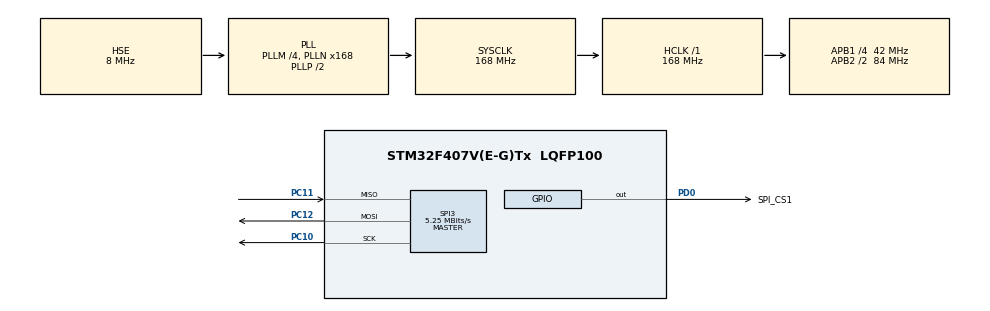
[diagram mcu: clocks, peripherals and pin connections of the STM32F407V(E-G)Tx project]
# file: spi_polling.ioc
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Mcu.Family=STM32F4
Mcu.Name=STM32F407V(E-G)Tx
Mcu.Package=LQFP100
NVIC.PriorityGroup=NVIC_PRIORITYGROUP_4
PC10.Mode=Full_Duplex_Master
PC10.Signal=SPI3_SCK
PC11.Mode=Full_Duplex_Master
PC11.Signal=SPI3_MISO
PC12.Mode=Full_Duplex_Master
PC12.Signal=SPI3_MOSI
PD0.GPIO_Label=SPI_CS1
PD0.GPIO_Speed=GPIO_SPEED_FREQ_VERY_HIGH
PD0.PinState=GPIO_PIN_SET
PD0.Signal=GPIO_Output
PH0-OSC_IN.Mode=HSE-External-Oscillator
PH0-OSC_IN.Signal=RCC_OSC_IN
PH1-OSC_OUT.Mode=HSE-External-Oscillator
PH1-OSC_OUT.Signal=RCC_OSC_OUT
ProjectManager.HeapSize=0x200
ProjectManager.StackSize=0x400
ProjectManager.TargetToolchain=STM32CubeIDE
RCC.48MHZClocksFreq_Value=84000000
RCC.AHBFreq_Value=168000000
RCC.APB1CLKDivider=RCC_HCLK_DIV4
RCC.APB1Freq_Value=42000000
RCC.APB1TimFreq_Value=84000000
RCC.APB2CLKDivider=RCC_HCLK_DIV2
RCC.APB2Freq_Value=84000000
RCC.APB2TimFreq_Value=168000000
RCC.CortexFreq_Value=168000000
RCC.HCLKFreq_Value=168000000
RCC.HSE_VALUE=8000000
RCC.HSI_VALUE=16000000
RCC.LSE_VALUE=32768
RCC.PLLM=4
RCC.PLLN=168
RCC.PLLSourceVirtual=RCC_PLLSOURCE_HSE
RCC.SYSCLKFreq_VALUE=168000000
RCC.SYSCLKSource=RCC_SYSCLKSOURCE_PLLCLK
RCC.VCOOutputFreq_Value=336000000
SPI3.BaudRatePrescaler=SPI_BAUDRATEPRESCALER_8
SPI3.CLKPhase=SPI_PHASE_2EDGE
SPI3.CLKPolarity=SPI_POLARITY_HIGH
SPI3.CalculateBaudRate=5.25 MBits/s
SPI3.Direction=SPI_DIRECTION_2LINES
SPI3.Mode=SPI_MODE_MASTER
SPI3.VirtualType=VM_MASTER
board=custom

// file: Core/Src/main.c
/* USER CODE BEGIN Header */
/**
  ******************************************************************************
  * @file           : main.c
  * @brief          : Main program body
  ******************************************************************************
  * @attention
  *
  * <h2><center>&copy; Copyright (c) 2021 STMicroelectronics.
  * All rights reserved.</center></h2>
  *
  * This software component is licensed by ST under BSD 3-Clause license,
  * the "License"; You may not use this file except in compliance with the
  * License. You may obtain a copy of the License at:
  *                        opensource.org/licenses/BSD-3-Clause
  *
  ******************************************************************************
  */
/* USER CODE END Header */
#include "main.h"

/* USER CODE BEGIN Includes */
#include <stdint.h>
/* USER CODE END Includes */

SPI_HandleTypeDef hspi3;

void SystemClock_Config(void);
static void MX_GPIO_Init(void);
static void MX_SPI3_Init(void);
/* USER CODE BEGIN PFP */
HAL_StatusTypeDef MEM_Read(uint8_t MemAddress, uint16_t *Data);
HAL_StatusTypeDef MEM_Write(uint8_t MemAddress, uint16_t Data);
/* USER CODE END PFP */

int main(void)
{
  /* USER CODE BEGIN 1 */
  HAL_StatusTypeDef MEM_status;
  uint16_t SPI_data_tx, SPI_data_rx;
  /* USER CODE END 1 */

  /* MCU Configuration--------------------------------------------------------*/

  /* Reset of all peripherals, Initializes the Flash interface and the Systick. */
  HAL_Init();

  /* Configure the system clock */
  SystemClock_Config();

  /* Initialize all configured peripherals */
  MX_GPIO_Init();
  MX_SPI3_Init();

  /* Infinite loop */
  while (1)
  {

    /* USER CODE BEGIN 3 */

    SPI_data_tx = 0x0080;

    MEM_status = MEM_Write(0x06, SPI_data_tx);

    HAL_Delay(10);

    MEM_status = MEM_Read(0x06, &SPI_data_rx);

    HAL_Delay(1);

    SPI_data_tx = 0x0000;

    MEM_status = MEM_Write(0x06, SPI_data_tx);

    HAL_Delay(10);

    MEM_status =  MEM_Read(0x06, &SPI_data_rx);

    while(1);

  }
  /* USER CODE END 3 */
}

void SystemClock_Config(void)
{
  RCC_OscInitTypeDef RCC_OscInitStruct = {0};
  RCC_ClkInitTypeDef RCC_ClkInitStruct = {0};

  /** Configure the main internal regulator output voltage
  */
  __HAL_RCC_PWR_CLK_ENABLE();
  __HAL_PWR_VOLTAGESCALING_CONFIG(PWR_REGULATOR_VOLTAGE_SCALE1);
  /** Initializes the RCC Oscillators according to the specified parameters
  * in the RCC_OscInitTypeDef structure.
  */
  RCC_OscInitStruct.OscillatorType = RCC_OSCILLATORTYPE_HSE;
  RCC_OscInitStruct.HSEState = RCC_HSE_ON;
  RCC_OscInitStruct.PLL.PLLState = RCC_PLL_ON;
  RCC_OscInitStruct.PLL.PLLSource = RCC_PLLSOURCE_HSE;
  RCC_OscInitStruct.PLL.PLLM = 4;
  RCC_OscInitStruct.PLL.PLLN = 168;
  RCC_OscInitStruct.PLL.PLLP = RCC_PLLP_DIV2;
  RCC_OscInitStruct.PLL.PLLQ = 4;
  if (HAL_RCC_OscConfig(&RCC_OscInitStruct) != HAL_OK)
  {
    Error_Handler();
  }
  /** Initializes the CPU, AHB and APB buses clocks
  */
  RCC_ClkInitStruct.ClockType = RCC_CLOCKTYPE_HCLK|RCC_CLOCKTYPE_SYSCLK
                              |RCC_CLOCKTYPE_PCLK1|RCC_CLOCKTYPE_PCLK2;
  RCC_ClkInitStruct.SYSCLKSource = RCC_SYSCLKSOURCE_PLLCLK;
  RCC_ClkInitStruct.AHBCLKDivider = RCC_SYSCLK_DIV1;
  RCC_ClkInitStruct.APB1CLKDivider = RCC_HCLK_DIV4;
  RCC_ClkInitStruct.APB2CLKDivider = RCC_HCLK_DIV2;

  if (HAL_RCC_ClockConfig(&RCC_ClkInitStruct, FLASH_LATENCY_5) != HAL_OK)
  {
    Error_Handler();
  }
}

static void MX_SPI3_Init(void)
{

  /* SPI3 parameter configuration*/
  hspi3.Instance = SPI3;
  hspi3.Init.Mode = SPI_MODE_MASTER;
  hspi3.Init.Direction = SPI_DIRECTION_2LINES;
  hspi3.Init.DataSize = SPI_DATASIZE_8BIT;
  hspi3.Init.CLKPolarity = SPI_POLARITY_HIGH;
  hspi3.Init.CLKPhase = SPI_PHASE_2EDGE;
  hspi3.Init.NSS = SPI_NSS_SOFT;
  hspi3.Init.BaudRatePrescaler = SPI_BAUDRATEPRESCALER_8;
  hspi3.Init.FirstBit = SPI_FIRSTBIT_MSB;
  hspi3.Init.TIMode = SPI_TIMODE_DISABLE;
  hspi3.Init.CRCCalculation = SPI_CRCCALCULATION_DISABLE;
  hspi3.Init.CRCPolynomial = 10;
  if (HAL_SPI_Init(&hspi3) != HAL_OK)
  {
    Error_Handler();
  }

}

static void MX_GPIO_Init(void)
{
  GPIO_InitTypeDef GPIO_InitStruct = {0};

  /* GPIO Ports Clock Enable */
  __HAL_RCC_GPIOH_CLK_ENABLE();
  __HAL_RCC_GPIOC_CLK_ENABLE();
  __HAL_RCC_GPIOD_CLK_ENABLE();

  /*Configure GPIO pin Output Level */
  HAL_GPIO_WritePin(SPI_CS1_GPIO_Port, SPI_CS1_Pin, GPIO_PIN_SET);

  /*Configure GPIO pin : SPI_CS1_Pin */
  GPIO_InitStruct.Pin = SPI_CS1_Pin;
  GPIO_InitStruct.Mode = GPIO_MODE_OUTPUT_PP;
  GPIO_InitStruct.Pull = GPIO_NOPULL;
  GPIO_InitStruct.Speed = GPIO_SPEED_FREQ_VERY_HIGH;
  HAL_GPIO_Init(SPI_CS1_GPIO_Port, &GPIO_InitStruct);

}

/* USER CODE BEGIN 4 */

/**
 * @brief  Routine to read a memory register from MCP4261.
 * @param  MemAddress : Memory register address.
 * @param  Data : Data where value read will be saved.
 * @retval HAL_StatusTypeDef
 */
HAL_StatusTypeDef MEM_Read(uint8_t MemAddress, uint16_t *Data)
{
  HAL_StatusTypeDef SPI_status = HAL_OK;
  uint8_t SPI_data_tx[2];
  uint8_t SPI_data_rx[2];

  /*
   * Preparing data to transmit
   * If MemAddress = 0x06
   * SPI_data_tx[0] = 0x6F
   * SPI_data_tx[1] = 0xFF
   */
  SPI_data_tx[0] = (MemAddress << 4) | 0x0F;
  SPI_data_tx[1] = 0xFF;

  //Selecting the SPI memory
  HAL_GPIO_WritePin(SPI_CS1_GPIO_Port, SPI_CS1_Pin, 0);

  //SPI transfer, receiving 2 bytes
  SPI_status =  HAL_SPI_TransmitReceive(&hspi3, SPI_data_tx, SPI_data_rx, 2, 1);

  //De-selecting SPI memory
  HAL_GPIO_WritePin(SPI_CS1_GPIO_Port, SPI_CS1_Pin, 1);

  /*
   * Recovering data from received bytes
   * Se SPI_data_rx[0] = 0xFE e SPI_data_rx[1] = 0x80
   * *Data = 0x0080
   */
  *Data = 0;
  *Data = SPI_data_rx[1];
  *Data |= (SPI_data_rx[0] << 8) & 0x01FF;

  return SPI_status;
}

/**
 * @brief  Routine to write to a memory register on MCP4261.
 * @param  MemAddress : Memory register address.
 * @param  Data : Data to send.
 * @retval HAL_StatusTypeDef
 */
HAL_StatusTypeDef MEM_Write(uint8_t MemAddress, uint16_t Data)
{
  HAL_StatusTypeDef SPI_status = HAL_OK;
  uint8_t SPI_data_tx[2];

  /*
   * Preparing data to transmit
   * If MemAddress = 0x06 e Data = 0x80
   * SPI_data_tx[0] = 0x60
   * SPI_data_tx[1] = 0x80
   */

  Data &= 0x01FF; //This memory accepts only 8 bits values
  SPI_data_tx[0] = (MemAddress << 4);
  SPI_data_tx[0] |= Data >> 8;
  SPI_data_tx[1] = Data & 0xFF;

  //Selecting the SPI memory
  HAL_GPIO_WritePin(SPI_CS1_GPIO_Port, SPI_CS1_Pin, 0);

  //SPI transfer, transmitting 2 bytes
  SPI_status = HAL_SPI_Transmit(&hspi3, SPI_data_tx, 2, 1);

  //De-selecting SPI memory
  HAL_GPIO_WritePin(SPI_CS1_GPIO_Port, SPI_CS1_Pin, 1);

  return SPI_status;
}

/* USER CODE END 4 */

void Error_Handler(void)
{
  __disable_irq();
  while (1)
  {
  }
}

/************************ (C) COPYRIGHT STMicroelectronics *****END OF FILE****/
